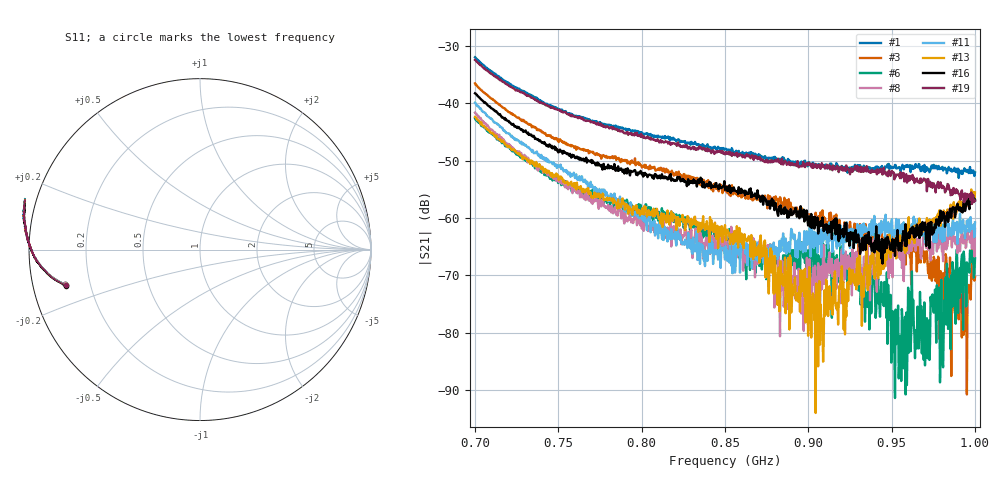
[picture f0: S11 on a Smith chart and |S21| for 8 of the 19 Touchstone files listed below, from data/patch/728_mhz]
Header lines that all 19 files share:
! Touchstone 1.1 file saved by VNA.EXE V1.65 (www.ke5fx.com/gpib/readme.htm)
!  Source: HEWLETT PACKARD,8753D,0,6.14
!  Min freq: 7.000000E+008 Hz
!  Max freq: 1.000000E+009 Hz
!  Points: 801
!  Params: S11 S21 S12 S22
# GHZ S MA R 50
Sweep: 700 MHz to 1 GHz
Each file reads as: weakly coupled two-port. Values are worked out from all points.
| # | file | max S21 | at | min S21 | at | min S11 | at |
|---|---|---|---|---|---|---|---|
| 1 | 0.S2P | -31.97 dB | 700 MHz | -53.0 dB | 990.2 MHz | -1.8 dB | 700 MHz |
| 2 | 40.S2P | -34.24 dB | 700 MHz | -67.7 dB | 999.2 MHz | -1.8 dB | 700 MHz |
| 3 | 60.S2P | -36.53 dB | 700 MHz | -90.8 dB | 995.1 MHz | -1.8 dB | 700 MHz |
| 4 | 80.S2P | -39.32 dB | 700.4 MHz | -88.2 dB | 971.5 MHz | -1.8 dB | 700 MHz |
| 5 | 90.S2P | -40.92 dB | 700 MHz | -95.9 dB | 948.6 MHz | -1.8 dB | 700 MHz |
| 6 | 100.S2P | -42.63 dB | 700 MHz | -91.4 dB | 952 MHz | -1.8 dB | 700 MHz |
| 7 | 120.S2P | -43.45 dB | 700 MHz | -100.0 dB | 896.1 MHz | -1.8 dB | 700 MHz |
| 8 | 140.S2P | -41.62 dB | 700 MHz | -80.6 dB | 883 MHz | -1.8 dB | 700 MHz |
| 9 | 160.S2P | -39.60 dB | 700 MHz | -70.9 dB | 890.1 MHz | -1.8 dB | 700 MHz |
| 10 | 180.S2P | -38.80 dB | 700 MHz | -71.2 dB | 896.5 MHz | -1.8 dB | 700 MHz |
| 11 | 200.S2P | -39.89 dB | 700 MHz | -69.6 dB | 854.5 MHz | -1.8 dB | 700 MHz |
| 12 | 220.S2P | -41.41 dB | 700 MHz | -88.9 dB | 883 MHz | -1.8 dB | 700 MHz |
| 13 | 240.S2P | -42.37 dB | 700 MHz | -94.0 dB | 904.4 MHz | -1.8 dB | 700 MHz |
| 14 | 260.S2P | -41.19 dB | 700 MHz | -73.6 dB | 929.1 MHz | -1.8 dB | 700 MHz |
| 15 | 270.S2P | -39.55 dB | 700 MHz | -73.0 dB | 941.5 MHz | -1.8 dB | 700 MHz |
| 16 | 280.S2P | -38.26 dB | 700 MHz | -67.9 dB | 944.5 MHz | -1.8 dB | 700 MHz |
| 17 | 300.S2P | -35.44 dB | 700 MHz | -70.0 dB | 957.6 MHz | -1.8 dB | 700 MHz |
| 18 | 320.S2P | -33.50 dB | 700 MHz | -63.4 dB | 998.9 MHz | -1.8 dB | 700 MHz |
| 19 | 340.S2P | -32.42 dB | 700 MHz | -57.5 dB | 998.1 MHz | -1.8 dB | 700 MHz |
